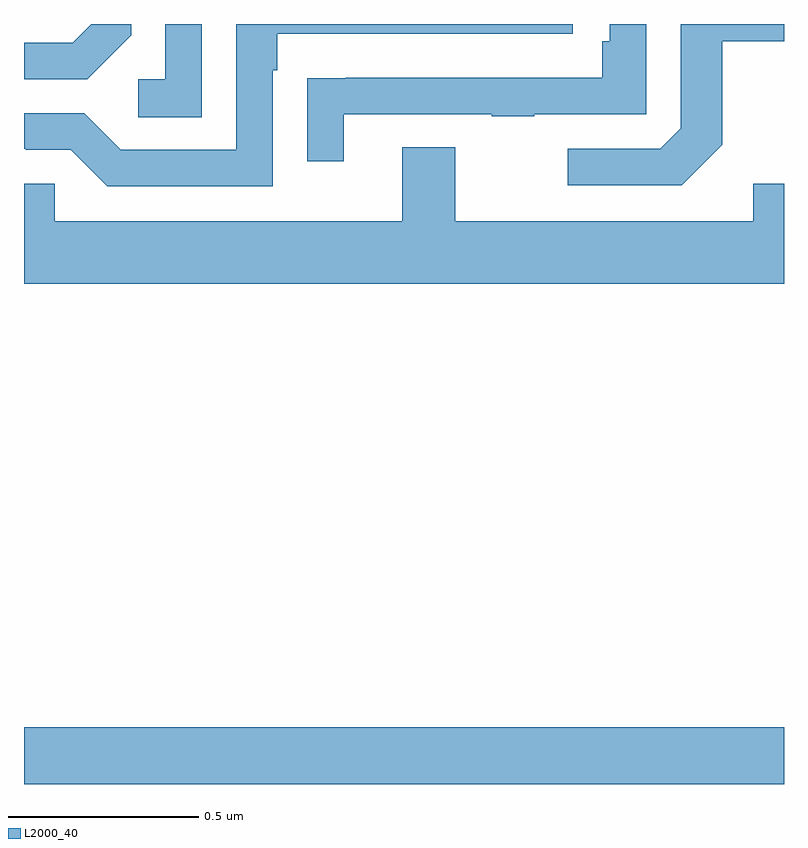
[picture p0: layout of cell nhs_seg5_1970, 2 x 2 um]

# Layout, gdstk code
import gdstk
lib = gdstk.Library(unit=1e-6, precision=1e-09)
def R(c, l, rs):  # rectangles x0, y0, x1, y1
    for r in rs: c.add(gdstk.rectangle(r[:2], r[2:], *l))
def P(c, l, *ps):  # polygons
    for p in ps: c.add(gdstk.Polygon(p, *l))
L2000_40 = (2000, 40)

nhs_seg5_1970 = lib.new_cell('nhs_seg5_1970')
R(nhs_seg5_1970, L2000_40, [(138,832.799,140,832.948)])
P(nhs_seg5_1970, L2000_40, [(138.654,834.677),(138.667,834.677),(138.667,834.774),(139.444,834.774),(139.444,834.799),(138.558,834.799),(138.558,834.468),(138.255,834.468),(138.159,834.564),(138,834.564),(138,834.471),(138.005,834.471),(138.005,834.468),(138.123,834.468),(138.219,834.372),(138.654,834.372)],
  [(138.841,834.561),(139.231,834.561),(139.231,834.556),(139.343,834.556),(139.343,834.561),(139.638,834.561),(139.638,834.799),(139.542,834.799),(139.542,834.754),(139.522,834.754),(139.522,834.657),(138.847,834.657),(138.847,834.656),(138.745,834.656),(138.745,834.438),(138.841,834.438)],
  [(138.282,834.77),(138.282,834.799),(138.177,834.799),(138.128,834.75),(138,834.75),(138,834.654),(138.166,834.654)],
  [(139.837,834.481),(139.837,834.754),(140,834.754),(140,834.799),(139.728,834.799),(139.728,834.525),(139.674,834.471),(139.431,834.471),(139.431,834.375),(139.731,834.375)],
  [(138.468,834.799),(138.372,834.799),(138.372,834.654),(138.3,834.654),(138.3,834.553),(138.468,834.553)],
  [(140,834.379),(139.919,834.379),(139.919,834.28),(139.135,834.28),(139.135,834.475),(138.995,834.475),(138.995,834.28),(138.081,834.28),(138.081,834.378),(138,834.378),(138,834.116),(140,834.116)])

lib.write_gds('nhs_seg5_1970.gds')
